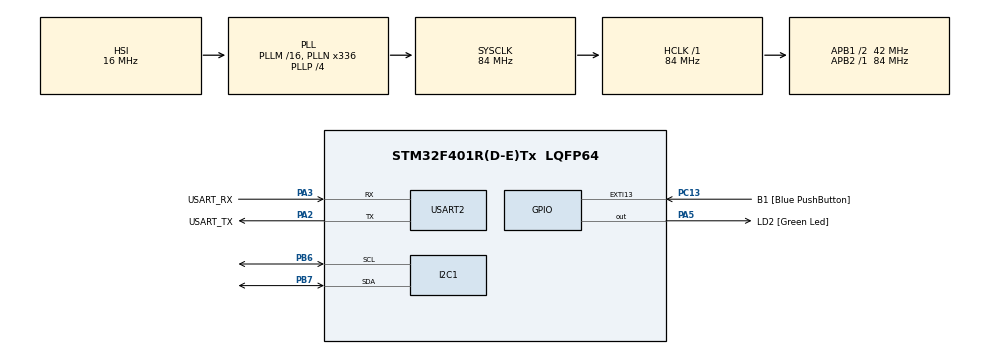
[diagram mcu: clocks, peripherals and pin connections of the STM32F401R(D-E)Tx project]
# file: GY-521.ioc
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Mcu.Family=STM32F4
Mcu.Name=STM32F401R(D-E)Tx
Mcu.Package=LQFP64
NVIC.PriorityGroup=NVIC_PRIORITYGROUP_0
PA13.GPIO_Label=TMS
PA13.Mode=Serial_Wire
PA13.Signal=SYS_JTMS-SWDIO
PA14.GPIO_Label=TCK
PA14.Mode=Serial_Wire
PA14.Signal=SYS_JTCK-SWCLK
PA2.GPIO_Label=USART_TX
PA2.GPIO_Mode=GPIO_MODE_AF_PP
PA2.GPIO_PuPd=GPIO_NOPULL
PA2.GPIO_Speed=GPIO_SPEED_FREQ_LOW
PA2.Mode=Asynchronous
PA2.Signal=USART2_TX
PA3.GPIO_Label=USART_RX
PA3.GPIO_Mode=GPIO_MODE_AF_PP
PA3.GPIO_PuPd=GPIO_NOPULL
PA3.GPIO_Speed=GPIO_SPEED_FREQ_LOW
PA3.Mode=Asynchronous
PA3.Signal=USART2_RX
PA5.GPIO_Label=LD2 [Green Led]
PA5.GPIO_Mode=GPIO_MODE_OUTPUT_PP
PA5.GPIO_PuPd=GPIO_NOPULL
PA5.GPIO_Speed=GPIO_SPEED_FREQ_LOW
PA5.Signal=GPIO_Output
PB3.GPIO_Label=SWO
PB3.Signal=SYS_JTDO-SWO
PB6.Mode=I2C
PB6.Signal=I2C1_SCL
PB7.Mode=I2C
PB7.Signal=I2C1_SDA
PC13-ANTI_TAMP.GPIO_Label=B1 [Blue PushButton]
PC13-ANTI_TAMP.GPIO_ModeDefaultEXTI=GPIO_MODE_IT_FALLING
PC13-ANTI_TAMP.GPIO_PuPd=GPIO_NOPULL
PC13-ANTI_TAMP.Signal=GPXTI13
PC14-OSC32_IN.Mode=LSE-External-Oscillator
PC14-OSC32_IN.Signal=RCC_OSC32_IN
PC15-OSC32_OUT.Mode=LSE-External-Oscillator
PC15-OSC32_OUT.Signal=RCC_OSC32_OUT
PH0\ -\ OSC_IN.Mode=HSE-External-Clock-Source
PH0\ -\ OSC_IN.Signal=RCC_OSC_IN
PH1\ -\ OSC_OUT.Mode=HSE-External-Clock-Source
PH1\ -\ OSC_OUT.Signal=RCC_OSC_OUT
ProjectManager.HeapSize=0x200
ProjectManager.StackSize=0x400
ProjectManager.TargetToolchain=SW4STM32
RCC.48MHZClocksFreq_Value=48000000
RCC.AHBFreq_Value=84000000
RCC.APB1CLKDivider=RCC_HCLK_DIV2
RCC.APB1Freq_Value=42000000
RCC.APB1TimFreq_Value=84000000
RCC.APB2Freq_Value=84000000
RCC.APB2TimFreq_Value=84000000
RCC.CortexFreq_Value=84000000
RCC.HCLKFreq_Value=84000000
RCC.HSE_VALUE=8000000
RCC.HSI_VALUE=16000000
RCC.PLLN=336
RCC.PLLP=RCC_PLLP_DIV4
RCC.PLLQ=7
RCC.SYSCLKFreq_VALUE=84000000
RCC.SYSCLKSource=RCC_SYSCLKSOURCE_PLLCLK
RCC.VCOOutputFreq_Value=336000000
USART2.VirtualMode=VM_ASYNC
board=NUCLEO-F401RE

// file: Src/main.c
/* USER CODE BEGIN Header */
/**
  ******************************************************************************
  * @file           : main.c
  * @brief          : Main program body
  ******************************************************************************
  * @attention
  *
  * <h2><center>&copy; Copyright (c) 2019 STMicroelectronics.
  * All rights reserved.</center></h2>
  *
  * This software component is licensed by ST under BSD 3-Clause license,
  * the "License"; You may not use this file except in compliance with the
  * License. You may obtain a copy of the License at:
  *                        opensource.org/licenses/BSD-3-Clause
  *
  ******************************************************************************
  */
/* USER CODE END Header */

#include "main.h"

/* USER CODE BEGIN Includes */
#include "sd_hal_mpu6050.h"
/* USER CODE END Includes */

I2C_HandleTypeDef hi2c1;

UART_HandleTypeDef huart2;

void SystemClock_Config(void);
static void MX_GPIO_Init(void);
static void MX_I2C1_Init(void);
static void MX_USART2_UART_Init(void);

/* USER CODE BEGIN 0 */
SD_MPU6050 mpu1;
/* USER CODE END 0 */

int main(void)
{
  /* USER CODE BEGIN 1 */
  SD_MPU6050_Result result ;
  uint8_t mpu_ok[15] = {"MPU WORK FINE\n"};
  uint8_t mpu_not[17] = {"MPU NOT WORKING\n"};
  /* USER CODE END 1 */

  /* MCU Configuration--------------------------------------------------------*/

  /* Reset of all peripherals, Initializes the Flash interface and the Systick. */
  HAL_Init();

  /* Configure the system clock */
  SystemClock_Config();

  /* Initialize all configured peripherals */
  MX_GPIO_Init();
  MX_I2C1_Init();
  MX_USART2_UART_Init();

  /* Infinite loop */
  /* USER CODE BEGIN WHILE */
  while (1)
  {
	result = SD_MPU6050_Init(&hi2c1,&mpu1,SD_MPU6050_Device_0,SD_MPU6050_Accelerometer_2G,SD_MPU6050_Gyroscope_250s );
	HAL_Delay(500);
    /* USER CODE END WHILE */
    /* USER CODE BEGIN 3 */
	char* newline="\n\r";
	if(result == SD_MPU6050_Result_Ok){
		HAL_UART_Transmit(&huart2,mpu_ok,(uint16_t)15,0xFFFF);
	} else {
		HAL_UART_Transmit(&huart2,mpu_not,(uint16_t)17,0xFFFF);
	}
	HAL_UART_Transmit(&huart2,newline,2,0xFFFF);
	HAL_Delay(2000);
	SD_MPU6050_ReadTemperature(&hi2c1,&mpu1);
	float temper = mpu1.Temperature;
	SD_MPU6050_ReadGyroscope(&hi2c1,&mpu1);
	int16_t g_x = mpu1.Gyroscope_X;
	int16_t g_y = mpu1.Gyroscope_Y;
	int16_t g_z = mpu1.Gyroscope_Z;
	/* USER CODE BEGIN 3 */
	SD_MPU6050_ReadAccelerometer(&hi2c1,&mpu1);
	int16_t a_x = mpu1.Accelerometer_X;
	int16_t a_y = mpu1.Accelerometer_Y;
	int16_t a_z = mpu1.Accelerometer_Z;
	char buffer[16];
	char *buffer2;
	//Sending g_x
	buffer2="g_x= ";
	HAL_UART_Transmit(&huart2,(uint8_t*)buffer2, 5,0xFFFF);
	itoa(g_x, buffer, 10);
	HAL_UART_Transmit(&huart2,(uint8_t*)buffer, 2,0xFFFF);
	HAL_UART_Transmit(&huart2,newline,2,0xFFFF);
	//Sending g_y
	buffer2="g_y= ";
	HAL_UART_Transmit(&huart2,(uint8_t*)buffer2, 5,0xFFFF);
	itoa(g_y, buffer, 10);
	HAL_UART_Transmit(&huart2,(uint8_t*)buffer, 2,0xFFFF);
	HAL_UART_Transmit(&huart2,newline,2,0xFFFF);
	//Sending g_z
	buffer2="g_z= ";
	HAL_UART_Transmit(&huart2,(uint8_t*)buffer2, 5,0xFFFF);
	itoa(g_z, buffer, 10);
	HAL_UART_Transmit(&huart2,(uint8_t*)buffer, 2,0xFFFF);
	HAL_UART_Transmit(&huart2,newline,2,0xFFFF);
	//Sending temp
	buffer2="temp= ";
	HAL_UART_Transmit(&huart2,(uint8_t*)buffer2, 6,0xFFFF);
	int temp=(int)temper;
	itoa(temp, buffer, 10);
	HAL_UART_Transmit(&huart2,(uint8_t*)buffer, 2,0xFFFF);
	HAL_UART_Transmit(&huart2,newline,2,0xFFFF);
	//Sending a_x
	buffer2="a_x= ";
	HAL_UART_Transmit(&huart2,(uint8_t*)buffer2, 5,0xFFFF);
	itoa(a_x, buffer, 10);
	HAL_UART_Transmit(&huart2,(uint8_t*)buffer, 2,0xFFFF);
	HAL_UART_Transmit(&huart2,newline,2,0xFFFF);
	//Sending a_y
	buffer2="a_y= ";
	HAL_UART_Transmit(&huart2,(uint8_t*)buffer2, 5,0xFFFF);
	itoa(a_y, buffer, 10);
	HAL_UART_Transmit(&huart2,(uint8_t*)buffer, 2,0xFFFF);
	HAL_UART_Transmit(&huart2,newline,2,0xFFFF);
	//Sending a_z
	buffer2="a_z= ";
	HAL_UART_Transmit(&huart2,(uint8_t*)buffer2, 5,0xFFFF);
	itoa(a_z, buffer, 10);
	HAL_UART_Transmit(&huart2,(uint8_t*)buffer, 2,0xFFFF);
	HAL_UART_Transmit(&huart2,newline,2,0xFFFF);
  }
  /* USER CODE END 3 */
}

void SystemClock_Config(void)
{
  RCC_OscInitTypeDef RCC_OscInitStruct = {0};
  RCC_ClkInitTypeDef RCC_ClkInitStruct = {0};

  /** Configure the main internal regulator output voltage
  */
  __HAL_RCC_PWR_CLK_ENABLE();
  __HAL_PWR_VOLTAGESCALING_CONFIG(PWR_REGULATOR_VOLTAGE_SCALE2);
  /** Initializes the CPU, AHB and APB busses clocks
  */
  RCC_OscInitStruct.OscillatorType = RCC_OSCILLATORTYPE_HSI;
  RCC_OscInitStruct.HSIState = RCC_HSI_ON;
  RCC_OscInitStruct.HSICalibrationValue = RCC_HSICALIBRATION_DEFAULT;
  RCC_OscInitStruct.PLL.PLLState = RCC_PLL_ON;
  RCC_OscInitStruct.PLL.PLLSource = RCC_PLLSOURCE_HSI;
  RCC_OscInitStruct.PLL.PLLM = 16;
  RCC_OscInitStruct.PLL.PLLN = 336;
  RCC_OscInitStruct.PLL.PLLP = RCC_PLLP_DIV4;
  RCC_OscInitStruct.PLL.PLLQ = 7;
  if (HAL_RCC_OscConfig(&RCC_OscInitStruct) != HAL_OK)
  {
    Error_Handler();
  }
  /** Initializes the CPU, AHB and APB busses clocks
  */
  RCC_ClkInitStruct.ClockType = RCC_CLOCKTYPE_HCLK|RCC_CLOCKTYPE_SYSCLK
                              |RCC_CLOCKTYPE_PCLK1|RCC_CLOCKTYPE_PCLK2;
  RCC_ClkInitStruct.SYSCLKSource = RCC_SYSCLKSOURCE_PLLCLK;
  RCC_ClkInitStruct.AHBCLKDivider = RCC_SYSCLK_DIV1;
  RCC_ClkInitStruct.APB1CLKDivider = RCC_HCLK_DIV2;
  RCC_ClkInitStruct.APB2CLKDivider = RCC_HCLK_DIV1;

  if (HAL_RCC_ClockConfig(&RCC_ClkInitStruct, FLASH_LATENCY_2) != HAL_OK)
  {
    Error_Handler();
  }
}

static void MX_I2C1_Init(void)
{

  hi2c1.Instance = I2C1;
  hi2c1.Init.ClockSpeed = 100000;
  hi2c1.Init.DutyCycle = I2C_DUTYCYCLE_2;
  hi2c1.Init.OwnAddress1 = 0;
  hi2c1.Init.AddressingMode = I2C_ADDRESSINGMODE_7BIT;
  hi2c1.Init.DualAddressMode = I2C_DUALADDRESS_DISABLE;
  hi2c1.Init.OwnAddress2 = 0;
  hi2c1.Init.GeneralCallMode = I2C_GENERALCALL_DISABLE;
  hi2c1.Init.NoStretchMode = I2C_NOSTRETCH_DISABLE;
  if (HAL_I2C_Init(&hi2c1) != HAL_OK)
  {
    Error_Handler();
  }

}

static void MX_USART2_UART_Init(void)
{

  huart2.Instance = USART2;
  huart2.Init.BaudRate = 115200;
  huart2.Init.WordLength = UART_WORDLENGTH_8B;
  huart2.Init.StopBits = UART_STOPBITS_1;
  huart2.Init.Parity = UART_PARITY_NONE;
  huart2.Init.Mode = UART_MODE_TX_RX;
  huart2.Init.HwFlowCtl = UART_HWCONTROL_NONE;
  huart2.Init.OverSampling = UART_OVERSAMPLING_16;
  if (HAL_UART_Init(&huart2) != HAL_OK)
  {
    Error_Handler();
  }

}

static void MX_GPIO_Init(void)
{
  GPIO_InitTypeDef GPIO_InitStruct = {0};

  /* GPIO Ports Clock Enable */
  __HAL_RCC_GPIOC_CLK_ENABLE();
  __HAL_RCC_GPIOH_CLK_ENABLE();
  __HAL_RCC_GPIOA_CLK_ENABLE();
  __HAL_RCC_GPIOB_CLK_ENABLE();

  /*Configure GPIO pin Output Level */
  HAL_GPIO_WritePin(LD2_GPIO_Port, LD2_Pin, GPIO_PIN_RESET);

  /*Configure GPIO pin : B1_Pin */
  GPIO_InitStruct.Pin = B1_Pin;
  GPIO_InitStruct.Mode = GPIO_MODE_IT_FALLING;
  GPIO_InitStruct.Pull = GPIO_NOPULL;
  HAL_GPIO_Init(B1_GPIO_Port, &GPIO_InitStruct);

  /*Configure GPIO pin : LD2_Pin */
  GPIO_InitStruct.Pin = LD2_Pin;
  GPIO_InitStruct.Mode = GPIO_MODE_OUTPUT_PP;
  GPIO_InitStruct.Pull = GPIO_NOPULL;
  GPIO_InitStruct.Speed = GPIO_SPEED_FREQ_LOW;
  HAL_GPIO_Init(LD2_GPIO_Port, &GPIO_InitStruct);

}

void Error_Handler(void)
{
}

/************************ (C) COPYRIGHT STMicroelectronics *****END OF FILE****/
